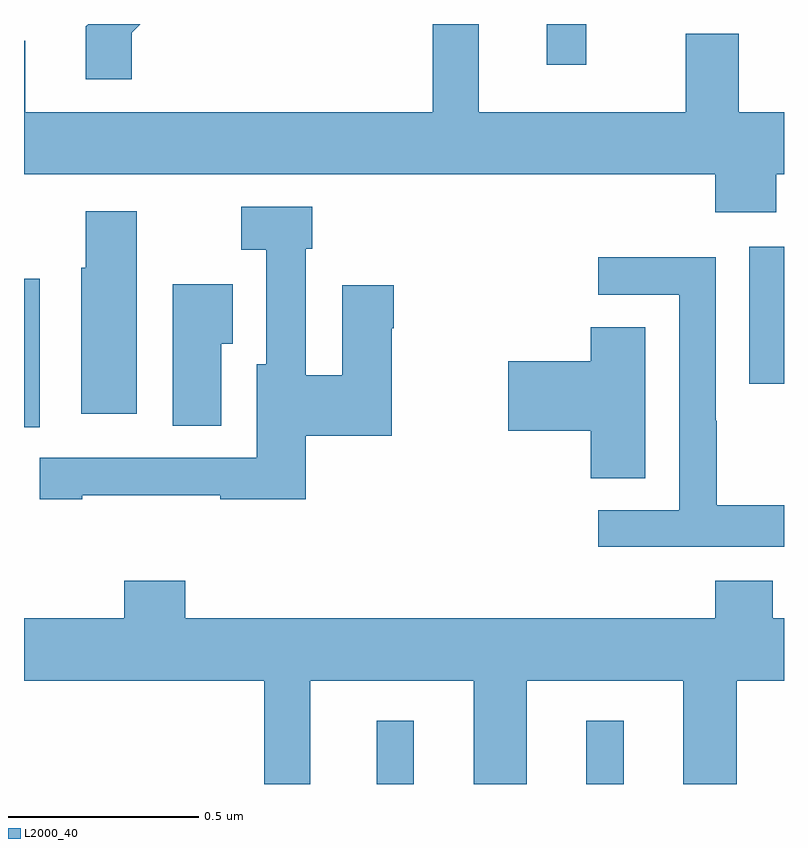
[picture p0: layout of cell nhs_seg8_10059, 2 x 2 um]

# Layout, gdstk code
import gdstk
lib = gdstk.Library(unit=1e-6, precision=1e-09)
def R(c, l, rs):  # rectangles x0, y0, x1, y1
    for r in rs: c.add(gdstk.rectangle(r[:2], r[2:], *l))
def P(c, l, *ps):  # polygons
    for p in ps: c.add(gdstk.Polygon(p, *l))
L2000_40 = (2000, 40)

nhs_seg8_10059 = lib.new_cell('nhs_seg8_10059')
R(nhs_seg8_10059, L2000_40, [(244.928,1110.9,245.026,1111.066), (245.48,1110.9,245.578,1111.066), (244,1111.839,244.041,1112.229), (245.909,1111.953,246,1112.314), (245.375,1112.793,245.479,1112.9)])
P(nhs_seg8_10059, L2000_40, [(245.979,1112.504),(246,1112.504),(246,1112.668),(245.881,1112.668),(245.881,1112.875),(245.741,1112.875),(245.741,1112.668),(245.197,1112.668),(245.197,1112.9),(245.076,1112.9),(245.076,1112.668),(244.003,1112.668),(244.003,1112.856),(244,1112.856),(244,1112.504),(245.819,1112.504),(245.819,1112.405),(245.979,1112.405)],
  [(244.283,1112.877),(244.306,1112.9),(244.169,1112.9),(244.163,1112.894),(244.163,1112.754),(244.283,1112.754)],
  [(244.153,1111.66),(244.517,1111.66),(244.517,1111.65),(244.741,1111.65),(244.741,1111.816),(244.968,1111.816),(244.968,1112.099),(244.973,1112.099),(244.973,1112.212),(244.838,1112.212),(244.838,1111.976),(244.741,1111.976),(244.741,1112.309),(244.759,1112.309),(244.759,1112.419),(244.572,1112.419),(244.572,1112.306),(244.637,1112.306),(244.637,1112.004),(244.613,1112.004),(244.613,1111.758),(244.041,1111.758),(244.041,1111.65),(244.153,1111.65)],
  [(244.297,1112.407),(244.163,1112.407),(244.163,1112.259),(244.151,1112.259),(244.151,1111.875),(244.297,1111.875)],
  [(246,1111.633),(245.823,1111.633),(245.823,1111.856),(245.82,1111.856),(245.82,1112.286),(245.511,1112.286),(245.511,1112.187),(245.724,1112.187),(245.724,1111.62),(245.511,1111.62),(245.511,1111.524),(246,1111.524)],
  [(244.519,1112.059),(244.549,1112.059),(244.549,1112.215),(244.391,1112.215),(244.391,1111.843),(244.519,1111.843)],
  [(245.635,1112.102),(245.492,1112.102),(245.492,1112.012),(245.274,1112.012),(245.274,1111.829),(245.492,1111.829),(245.492,1111.705),(245.635,1111.705)],
  [(244.753,1111.172),(245.183,1111.172),(245.183,1110.9),(245.323,1110.9),(245.323,1111.172),(245.735,1111.172),(245.735,1110.9),(245.875,1110.9),(245.875,1111.172),(246,1111.172),(246,1111.336),(245.971,1111.336),(245.971,1111.435),(245.819,1111.435),(245.819,1111.336),(244.424,1111.336),(244.424,1111.435),(244.264,1111.435),(244.264,1111.336),(244,1111.336),(244,1111.172),(244.632,1111.172),(244.632,1110.9),(244.753,1110.9)])

lib.write_gds('nhs_seg8_10059.gds')
